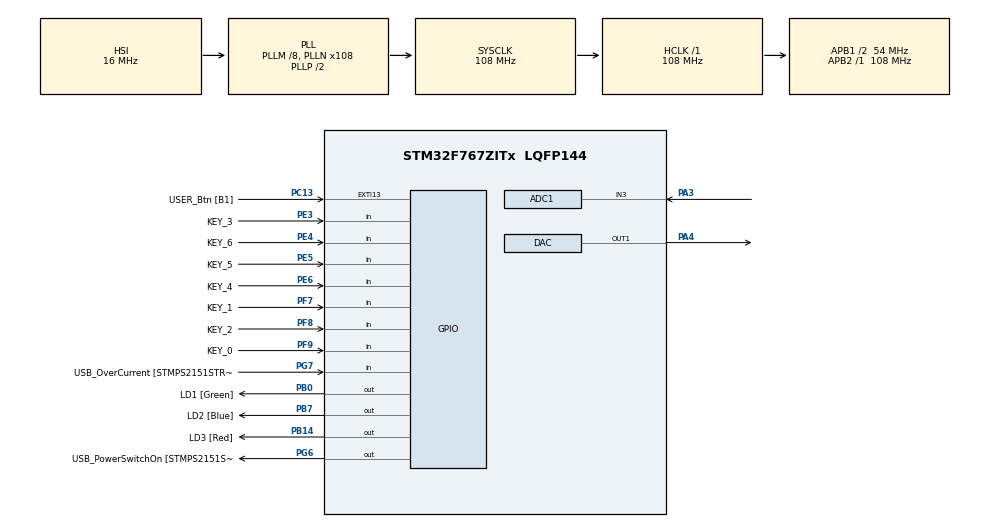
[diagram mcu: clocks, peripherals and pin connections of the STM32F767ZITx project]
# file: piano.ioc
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ADC1.Channel-2\#ChannelRegularConversion=ADC_CHANNEL_3
ADC1.ContinuousConvMode=DISABLE
ADC1.EOCSelection=ADC_EOC_SEQ_CONV
ADC1.NbrOfConversionFlag=1
ADC1.Rank-2\#ChannelRegularConversion=1
ADC1.SamplingTime-2\#ChannelRegularConversion=ADC_SAMPLETIME_480CYCLES
ADC1.ScanConvMode=ADC_SCAN_DISABLE
ADC1.master=1
Mcu.Family=STM32F7
Mcu.Name=STM32F767ZITx
Mcu.Package=LQFP144
NVIC.ADC_IRQn=true\:0\:0\:false\:false\:true\:true\:true\:true
NVIC.PriorityGroup=NVIC_PRIORITYGROUP_4
PA1.GPIO_Label=RMII_REF_CLK [LAN8742A-CZ-TR_REFCLK0]
PA1.Signal=ETH_REF_CLK
PA10.GPIO_Label=USB_ID
PA10.Signal=USB_OTG_FS_ID
PA11.GPIO_Label=USB_DM
PA11.Signal=USB_OTG_FS_DM
PA12.GPIO_Label=USB_DP
PA12.Signal=USB_OTG_FS_DP
PA13.GPIO_Label=TMS
PA13.Signal=SYS_JTMS-SWDIO
PA14.GPIO_Label=TCK
PA14.Signal=SYS_JTCK-SWCLK
PA2.GPIO_Label=RMII_MDIO [LAN8742A-CZ-TR_MDIO]
PA2.Signal=ETH_MDIO
PA3.Signal=ADCx_IN3
PA4.Signal=COMP_DAC1_group
PA7.GPIO_Label=RMII_CRS_DV [LAN8742A-CZ-TR_CRS_DV]
PA7.Signal=ETH_CRS_DV
PA8.GPIO_Label=USB_SOF [TP1]
PA8.Signal=USB_OTG_FS_SOF
PA9.GPIO_Label=USB_VBUS
PA9.Signal=USB_OTG_FS_VBUS
PB0.GPIO_Label=LD1 [Green]
PB0.Signal=GPIO_Output
PB13.GPIO_Label=RMII_TXD1 [LAN8742A-CZ-TR_TXD1]
PB13.Signal=ETH_TXD1
PB14.GPIO_Label=LD3 [Red]
PB14.Signal=GPIO_Output
PB3.GPIO_Label=SW0
PB3.Signal=SYS_JTDO-SWO
PB7.GPIO_Label=LD2 [Blue]
PB7.Signal=GPIO_Output
PC1.GPIO_Label=RMII_MDC [LAN8742A-CZ-TR_MDC]
PC1.Signal=ETH_MDC
PC13.GPIO_Label=USER_Btn [B1]
PC13.Signal=GPXTI13
PC14/OSC32_IN.Signal=RCC_OSC32_IN
PC15/OSC32_OUT.Signal=RCC_OSC32_OUT
PC4.GPIO_Label=RMII_RXD0 [LAN8742A-CZ-TR_RXD0]
PC4.Signal=ETH_RXD0
PC5.GPIO_Label=RMII_RXD1 [LAN8742A-CZ-TR_RXD1]
PC5.Signal=ETH_RXD1
PD8.GPIO_Label=STLK_RX [STM32F103CBT6_PA3]
PD8.Signal=USART3_TX
PD9.GPIO_Label=STLK_TX [STM32F103CBT6_PA2]
PD9.Signal=USART3_RX
PE3.GPIO_Label=KEY_3
PE3.Signal=GPIO_Input
PE4.GPIO_Label=KEY_6
PE4.Signal=GPIO_Input
PE5.GPIO_Label=KEY_5
PE5.Signal=GPIO_Input
PE6.GPIO_Label=KEY_4
PE6.Signal=GPIO_Input
PF7.GPIO_Label=KEY_1
PF7.Signal=GPIO_Input
PF8.GPIO_Label=KEY_2
PF8.Signal=GPIO_Input
PF9.GPIO_Label=KEY_0
PF9.Signal=GPIO_Input
PG11.GPIO_Label=RMII_TX_EN [LAN8742A-CZ-TR_TXEN]
PG11.Signal=ETH_TX_EN
PG13.GPIO_Label=RMII_TXD0 [LAN8742A-CZ-TR_TXD0]
PG13.Signal=ETH_TXD0
PG6.GPIO_Label=USB_PowerSwitchOn [STMPS2151STR_EN]
PG6.Signal=GPIO_Output
PG7.GPIO_Label=USB_OverCurrent [STMPS2151STR_FAULT]
PG7.Signal=GPIO_Input
PH0/OSC_IN.GPIO_Label=MCO [STM32F103CBT6_PA8]
PH0/OSC_IN.Mode=HSE-External-Oscillator
PH0/OSC_IN.Signal=RCC_OSC_IN
PH1/OSC_OUT.Mode=HSE-External-Oscillator
PH1/OSC_OUT.Signal=RCC_OSC_OUT
ProjectManager.HeapSize=0x200
ProjectManager.StackSize=0x400
ProjectManager.TargetToolchain=STM32CubeIDE
RCC.48MHZClocksFreq_Value=24000000
RCC.AHBFreq_Value=108000000
RCC.APB1CLKDivider=RCC_HCLK_DIV2
RCC.APB1Freq_Value=54000000
RCC.APB1TimFreq_Value=108000000
RCC.APB2Freq_Value=108000000
RCC.APB2TimFreq_Value=108000000
RCC.CortexFreq_Value=108000000
RCC.HCLKFreq_Value=108000000
RCC.HSE_VALUE=8000000
RCC.HSI_VALUE=16000000
RCC.LSE_VALUE=32768
RCC.PLLM=8
RCC.PLLMUL=RCC_PLL_MUL9
RCC.PLLN=108
RCC.PRESCALERUSB=RCC_USBCLKSOURCE_PLL_DIV1_5
RCC.SYSCLKFreq_VALUE=108000000
RCC.SYSCLKSource=RCC_SYSCLKSOURCE_PLLCLK
RCC.SYSCLKSourceVirtual=RCC_SYSCLKSOURCE_PLLCLK
RCC.USBFreq_Value=108000000
RCC.VCOOutputFreq_Value=216000000
SH.ADCx_IN3.0=ADC1_IN3,IN3
SH.COMP_DAC1_group.0=DAC_OUT1,DAC_OUT1
TIM2.Prescaler=216-1
VP_TIM2_VS_ClockSourceINT.Mode=Internal
board=NUCLEO-F767ZI

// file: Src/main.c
/* USER CODE BEGIN Header */
/**
  ******************************************************************************
  * @file           : main.c
  * @brief          : Main program body
  ******************************************************************************
  * @attention
  *
  * Copyright (c) 2025 STMicroelectronics.
  * All rights reserved.
  *
  * This software is licensed under terms that can be found in the LICENSE file
  * in the root directory of this software component.
  * If no LICENSE file comes with this software, it is provided AS-IS.
  *
  ******************************************************************************
  */
/* USER CODE END Header */
#include "main.h"

/* USER CODE BEGIN Includes */

#include "math.h"
  # include <stdbool.h>

/* USER CODE END Includes */

ADC_HandleTypeDef hadc1;

DAC_HandleTypeDef hdac;

TIM_HandleTypeDef htim2;

void SystemClock_Config(void);
static void MX_GPIO_Init(void);
static void MX_DAC_Init(void);
static void MX_TIM2_Init(void);
static void MX_ADC1_Init(void);

int main(void)
{

  /* USER CODE BEGIN 1 */

  volatile uint32_t timer_val;
  uint16_t pot_value = 2048;
  uint32_t last_pot_read;

  /* USER CODE END 1 */

  /* MCU Configuration--------------------------------------------------------*/

  /* Reset of all peripherals, Initializes the Flash interface and the Systick. */
  HAL_Init();

  /* Configure the system clock */
  SystemClock_Config();

  /* Initialize all configured peripherals */
  MX_GPIO_Init();
  MX_DAC_Init();
  MX_TIM2_Init();
  MX_ADC1_Init();
  /* USER CODE BEGIN 2 */

  HAL_DAC_Start(&hdac, DAC_CHANNEL_1);
  HAL_TIM_Base_Start(&htim2);
  HAL_ADC_Start(&hadc1);

  // Get current time (microseconds)
  timer_val = __HAL_TIM_GET_COUNTER(&htim2);

  uint16_t volume = 2047;

  /* USER CODE END 2 */

  /* Infinite loop */
  while (1)
  {

    /* USER CODE BEGIN 3 */

    timer_val = __HAL_TIM_GET_COUNTER(&htim2);
    double signal = 0;
    double x = (double)(timer_val / 1000000.0); //timer in seconds
    double factor = (double)2.0 * M_PI * x;
    int notes = 0;

    //get pot value
    uint32_t pot = pot_value;
    double detune = 0.5 + (double)(pot_value/4095.0f);
    detune = round(detune *100.0)/100;

    factor *= detune;

    if (timer_val - last_pot_read > 10000){

      HAL_ADC_PollForConversion(&hadc1, HAL_MAX_DELAY);
      pot_value = HAL_ADC_GetValue(&hadc1);
      HAL_ADC_Start(&hadc1);
      last_pot_read = timer_val;
    }

    if (HAL_GPIO_ReadPin(KEY_3_GPIO_Port, KEY_3_Pin)){ //KEY ON THE FAR LEFT
      //A's an octive apart
      signal += (double)1.0 + sin(factor * 440.0);//440hz
      signal += (double)1.0 + sin(factor * 880.0);//880hz
      //signal += (double)1.0 + sin(factor * 1760.0);//17600hz
      notes++;
    }

    if (HAL_GPIO_ReadPin(KEY_6_GPIO_Port, KEY_6_Pin)){ //next key
      //C
      signal += (double)1.0 + sin(factor * 523.25);
      signal += (double)1.0 + sin(factor * 1046.50);
      notes++;
    }

    if (HAL_GPIO_ReadPin(KEY_4_GPIO_Port, KEY_4_Pin)){
      //D
      signal += (double)1.0 + sin(factor * 587.33);
      signal += (double)1.0 + sin(factor * 1174.66);
      notes++;
    }

    if (HAL_GPIO_ReadPin(KEY_5_GPIO_Port, KEY_5_Pin)){
      //E
      signal += (double)1.0 + sin(factor * 659.26);
      signal += (double)1.0 + sin(factor * 1318.51);
      notes++;
    }

    if (HAL_GPIO_ReadPin(KEY_1_GPIO_Port, KEY_1_Pin)){
      //G
      //signal += (double)1.0 + sin(factor * 392.00);
      signal += (double)1.0 + sin(factor * 783.99);
      signal += (double)1.0 + sin(factor * 1567.98);
      notes++;
    }

    if (HAL_GPIO_ReadPin(KEY_2_GPIO_Port, KEY_2_Pin)){
      //A igjen
      //signal += (double)1.0 + sin(factor * 440.0);
      signal += (double)1.0 + sin(factor * 880.0);
      signal += (double)1.0 + sin(factor * 1760.0);
      notes++;
    }

    if (HAL_GPIO_ReadPin(KEY_0_GPIO_Port, KEY_0_Pin)){
      //C igjen
      //signal += (double)1.0 + sin(factor * 523.25);
      signal += (double)1.0 + sin(factor * 1046.50);
      signal += (double)1.0 + sin(factor * 2093.00);

      notes++;
    }

    signal *= volume/notes; //"average" out the volume so it doesn't distort

    HAL_DAC_SetValue(&hdac, DAC_CHANNEL_1, DAC_ALIGN_12B_R, (uint16_t)signal);
  }
  /* USER CODE END 3 */
}

void SystemClock_Config(void)
{
  RCC_OscInitTypeDef RCC_OscInitStruct = {0};
  RCC_ClkInitTypeDef RCC_ClkInitStruct = {0};

  /** Configure the main internal regulator output voltage
  */
  __HAL_RCC_PWR_CLK_ENABLE();
  __HAL_PWR_VOLTAGESCALING_CONFIG(PWR_REGULATOR_VOLTAGE_SCALE3);

  /** Initializes the RCC Oscillators according to the specified parameters
  * in the RCC_OscInitTypeDef structure.
  */
  RCC_OscInitStruct.OscillatorType = RCC_OSCILLATORTYPE_HSI;
  RCC_OscInitStruct.HSIState = RCC_HSI_ON;
  RCC_OscInitStruct.HSICalibrationValue = RCC_HSICALIBRATION_DEFAULT;
  RCC_OscInitStruct.PLL.PLLState = RCC_PLL_ON;
  RCC_OscInitStruct.PLL.PLLSource = RCC_PLLSOURCE_HSI;
  RCC_OscInitStruct.PLL.PLLM = 8;
  RCC_OscInitStruct.PLL.PLLN = 108;
  RCC_OscInitStruct.PLL.PLLP = RCC_PLLP_DIV2;
  RCC_OscInitStruct.PLL.PLLQ = 2;
  RCC_OscInitStruct.PLL.PLLR = 2;
  if (HAL_RCC_OscConfig(&RCC_OscInitStruct) != HAL_OK)
  {
    Error_Handler();
  }

  /** Activate the Over-Drive mode
  */
  if (HAL_PWREx_EnableOverDrive() != HAL_OK)
  {
    Error_Handler();
  }

  /** Initializes the CPU, AHB and APB buses clocks
  */
  RCC_ClkInitStruct.ClockType = RCC_CLOCKTYPE_HCLK|RCC_CLOCKTYPE_SYSCLK
                              |RCC_CLOCKTYPE_PCLK1|RCC_CLOCKTYPE_PCLK2;
  RCC_ClkInitStruct.SYSCLKSource = RCC_SYSCLKSOURCE_PLLCLK;
  RCC_ClkInitStruct.AHBCLKDivider = RCC_SYSCLK_DIV1;
  RCC_ClkInitStruct.APB1CLKDivider = RCC_HCLK_DIV2;
  RCC_ClkInitStruct.APB2CLKDivider = RCC_HCLK_DIV1;

  if (HAL_RCC_ClockConfig(&RCC_ClkInitStruct, FLASH_LATENCY_3) != HAL_OK)
  {
    Error_Handler();
  }
}

static void MX_ADC1_Init(void)
{

  ADC_ChannelConfTypeDef sConfig = {0};

  /** Configure the global features of the ADC (Clock, Resolution, Data Alignment and number of conversion)
  */
  hadc1.Instance = ADC1;
  hadc1.Init.ClockPrescaler = ADC_CLOCK_SYNC_PCLK_DIV4;
  hadc1.Init.Resolution = ADC_RESOLUTION_12B;
  hadc1.Init.ScanConvMode = ADC_SCAN_DISABLE;
  hadc1.Init.ContinuousConvMode = DISABLE;
  hadc1.Init.DiscontinuousConvMode = DISABLE;
  hadc1.Init.ExternalTrigConvEdge = ADC_EXTERNALTRIGCONVEDGE_NONE;
  hadc1.Init.ExternalTrigConv = ADC_SOFTWARE_START;
  hadc1.Init.DataAlign = ADC_DATAALIGN_RIGHT;
  hadc1.Init.NbrOfConversion = 1;
  hadc1.Init.DMAContinuousRequests = DISABLE;
  hadc1.Init.EOCSelection = ADC_EOC_SEQ_CONV;
  if (HAL_ADC_Init(&hadc1) != HAL_OK)
  {
    Error_Handler();
  }

  /** Configure for the selected ADC regular channel its corresponding rank in the sequencer and its sample time.
  */
  sConfig.Channel = ADC_CHANNEL_3;
  sConfig.Rank = ADC_REGULAR_RANK_1;
  sConfig.SamplingTime = ADC_SAMPLETIME_480CYCLES;
  if (HAL_ADC_ConfigChannel(&hadc1, &sConfig) != HAL_OK)
  {
    Error_Handler();
  }

}

static void MX_DAC_Init(void)
{

  DAC_ChannelConfTypeDef sConfig = {0};

  /** DAC Initialization
  */
  hdac.Instance = DAC;
  if (HAL_DAC_Init(&hdac) != HAL_OK)
  {
    Error_Handler();
  }

  /** DAC channel OUT1 config
  */
  sConfig.DAC_Trigger = DAC_TRIGGER_NONE;
  sConfig.DAC_OutputBuffer = DAC_OUTPUTBUFFER_ENABLE;
  if (HAL_DAC_ConfigChannel(&hdac, &sConfig, DAC_CHANNEL_1) != HAL_OK)
  {
    Error_Handler();
  }

}

static void MX_TIM2_Init(void)
{

  TIM_ClockConfigTypeDef sClockSourceConfig = {0};
  TIM_MasterConfigTypeDef sMasterConfig = {0};

  htim2.Instance = TIM2;
  htim2.Init.Prescaler = 216-1;
  htim2.Init.CounterMode = TIM_COUNTERMODE_UP;
  htim2.Init.Period = 4294967295;
  htim2.Init.ClockDivision = TIM_CLOCKDIVISION_DIV1;
  htim2.Init.AutoReloadPreload = TIM_AUTORELOAD_PRELOAD_DISABLE;
  if (HAL_TIM_Base_Init(&htim2) != HAL_OK)
  {
    Error_Handler();
  }
  sClockSourceConfig.ClockSource = TIM_CLOCKSOURCE_INTERNAL;
  if (HAL_TIM_ConfigClockSource(&htim2, &sClockSourceConfig) != HAL_OK)
  {
    Error_Handler();
  }
  sMasterConfig.MasterOutputTrigger = TIM_TRGO_RESET;
  sMasterConfig.MasterSlaveMode = TIM_MASTERSLAVEMODE_DISABLE;
  if (HAL_TIMEx_MasterConfigSynchronization(&htim2, &sMasterConfig) != HAL_OK)
  {
    Error_Handler();
  }

}

static void MX_GPIO_Init(void)
{
  GPIO_InitTypeDef GPIO_InitStruct = {0};

  /* GPIO Ports Clock Enable */
  __HAL_RCC_GPIOE_CLK_ENABLE();
  __HAL_RCC_GPIOC_CLK_ENABLE();
  __HAL_RCC_GPIOF_CLK_ENABLE();
  __HAL_RCC_GPIOH_CLK_ENABLE();
  __HAL_RCC_GPIOA_CLK_ENABLE();
  __HAL_RCC_GPIOB_CLK_ENABLE();
  __HAL_RCC_GPIOD_CLK_ENABLE();
  __HAL_RCC_GPIOG_CLK_ENABLE();

  /*Configure GPIO pin Output Level */
  HAL_GPIO_WritePin(GPIOB, LD1_Pin|LD3_Pin|LD2_Pin, GPIO_PIN_RESET);

  /*Configure GPIO pin Output Level */
  HAL_GPIO_WritePin(USB_PowerSwitchOn_GPIO_Port, USB_PowerSwitchOn_Pin, GPIO_PIN_RESET);

  /*Configure GPIO pins : KEY_3_Pin KEY_6_Pin KEY_5_Pin KEY_4_Pin */
  GPIO_InitStruct.Pin = KEY_3_Pin|KEY_6_Pin|KEY_5_Pin|KEY_4_Pin;
  GPIO_InitStruct.Mode = GPIO_MODE_INPUT;
  GPIO_InitStruct.Pull = GPIO_NOPULL;
  HAL_GPIO_Init(GPIOE, &GPIO_InitStruct);

  /*Configure GPIO pin : USER_Btn_Pin */
  GPIO_InitStruct.Pin = USER_Btn_Pin;
  GPIO_InitStruct.Mode = GPIO_MODE_IT_RISING;
  GPIO_InitStruct.Pull = GPIO_NOPULL;
  HAL_GPIO_Init(USER_Btn_GPIO_Port, &GPIO_InitStruct);

  /*Configure GPIO pins : KEY_1_Pin KEY_2_Pin KEY_0_Pin */
  GPIO_InitStruct.Pin = KEY_1_Pin|KEY_2_Pin|KEY_0_Pin;
  GPIO_InitStruct.Mode = GPIO_MODE_INPUT;
  GPIO_InitStruct.Pull = GPIO_NOPULL;
  HAL_GPIO_Init(GPIOF, &GPIO_InitStruct);

  /*Configure GPIO pins : RMII_MDC_Pin RMII_RXD0_Pin RMII_RXD1_Pin */
  GPIO_InitStruct.Pin = RMII_MDC_Pin|RMII_RXD0_Pin|RMII_RXD1_Pin;
  GPIO_InitStruct.Mode = GPIO_MODE_AF_PP;
  GPIO_InitStruct.Pull = GPIO_NOPULL;
  GPIO_InitStruct.Speed = GPIO_SPEED_FREQ_VERY_HIGH;
  GPIO_InitStruct.Alternate = GPIO_AF11_ETH;
  HAL_GPIO_Init(GPIOC, &GPIO_InitStruct);

  /*Configure GPIO pins : RMII_REF_CLK_Pin RMII_MDIO_Pin RMII_CRS_DV_Pin */
  GPIO_InitStruct.Pin = RMII_REF_CLK_Pin|RMII_MDIO_Pin|RMII_CRS_DV_Pin;
  GPIO_InitStruct.Mode = GPIO_MODE_AF_PP;
  GPIO_InitStruct.Pull = GPIO_NOPULL;
  GPIO_InitStruct.Speed = GPIO_SPEED_FREQ_VERY_HIGH;
  GPIO_InitStruct.Alternate = GPIO_AF11_ETH;
  HAL_GPIO_Init(GPIOA, &GPIO_InitStruct);

  /*Configure GPIO pins : LD1_Pin LD3_Pin LD2_Pin */
  GPIO_InitStruct.Pin = LD1_Pin|LD3_Pin|LD2_Pin;
  GPIO_InitStruct.Mode = GPIO_MODE_OUTPUT_PP;
  GPIO_InitStruct.Pull = GPIO_NOPULL;
  GPIO_InitStruct.Speed = GPIO_SPEED_FREQ_LOW;
  HAL_GPIO_Init(GPIOB, &GPIO_InitStruct);

  /*Configure GPIO pin : RMII_TXD1_Pin */
  GPIO_InitStruct.Pin = RMII_TXD1_Pin;
  GPIO_InitStruct.Mode = GPIO_MODE_AF_PP;
  GPIO_InitStruct.Pull = GPIO_NOPULL;
  GPIO_InitStruct.Speed = GPIO_SPEED_FREQ_VERY_HIGH;
  GPIO_InitStruct.Alternate = GPIO_AF11_ETH;
  HAL_GPIO_Init(RMII_TXD1_GPIO_Port, &GPIO_InitStruct);

  /*Configure GPIO pins : STLK_RX_Pin STLK_TX_Pin */
  GPIO_InitStruct.Pin = STLK_RX_Pin|STLK_TX_Pin;
  GPIO_InitStruct.Mode = GPIO_MODE_AF_PP;
  GPIO_InitStruct.Pull = GPIO_NOPULL;
  GPIO_InitStruct.Speed = GPIO_SPEED_FREQ_VERY_HIGH;
  GPIO_InitStruct.Alternate = GPIO_AF7_USART3;
  HAL_GPIO_Init(GPIOD, &GPIO_InitStruct);

  /*Configure GPIO pin : USB_PowerSwitchOn_Pin */
  GPIO_InitStruct.Pin = USB_PowerSwitchOn_Pin;
  GPIO_InitStruct.Mode = GPIO_MODE_OUTPUT_PP;
  GPIO_InitStruct.Pull = GPIO_NOPULL;
  GPIO_InitStruct.Speed = GPIO_SPEED_FREQ_LOW;
  HAL_GPIO_Init(USB_PowerSwitchOn_GPIO_Port, &GPIO_InitStruct);

  /*Configure GPIO pin : USB_OverCurrent_Pin */
  GPIO_InitStruct.Pin = USB_OverCurrent_Pin;
  GPIO_InitStruct.Mode = GPIO_MODE_INPUT;
  GPIO_InitStruct.Pull = GPIO_NOPULL;
  HAL_GPIO_Init(USB_OverCurrent_GPIO_Port, &GPIO_InitStruct);

  /*Configure GPIO pins : USB_SOF_Pin USB_ID_Pin USB_DM_Pin USB_DP_Pin */
  GPIO_InitStruct.Pin = USB_SOF_Pin|USB_ID_Pin|USB_DM_Pin|USB_DP_Pin;
  GPIO_InitStruct.Mode = GPIO_MODE_AF_PP;
  GPIO_InitStruct.Pull = GPIO_NOPULL;
  GPIO_InitStruct.Speed = GPIO_SPEED_FREQ_VERY_HIGH;
  GPIO_InitStruct.Alternate = GPIO_AF10_OTG_FS;
  HAL_GPIO_Init(GPIOA, &GPIO_InitStruct);

  /*Configure GPIO pin : USB_VBUS_Pin */
  GPIO_InitStruct.Pin = USB_VBUS_Pin;
  GPIO_InitStruct.Mode = GPIO_MODE_INPUT;
  GPIO_InitStruct.Pull = GPIO_NOPULL;
  HAL_GPIO_Init(USB_VBUS_GPIO_Port, &GPIO_InitStruct);

  /*Configure GPIO pins : RMII_TX_EN_Pin RMII_TXD0_Pin */
  GPIO_InitStruct.Pin = RMII_TX_EN_Pin|RMII_TXD0_Pin;
  GPIO_InitStruct.Mode = GPIO_MODE_AF_PP;
  GPIO_InitStruct.Pull = GPIO_NOPULL;
  GPIO_InitStruct.Speed = GPIO_SPEED_FREQ_VERY_HIGH;
  GPIO_InitStruct.Alternate = GPIO_AF11_ETH;
  HAL_GPIO_Init(GPIOG, &GPIO_InitStruct);

}

void Error_Handler(void)
{
  __disable_irq();
  while (1)
  {
  }
}
